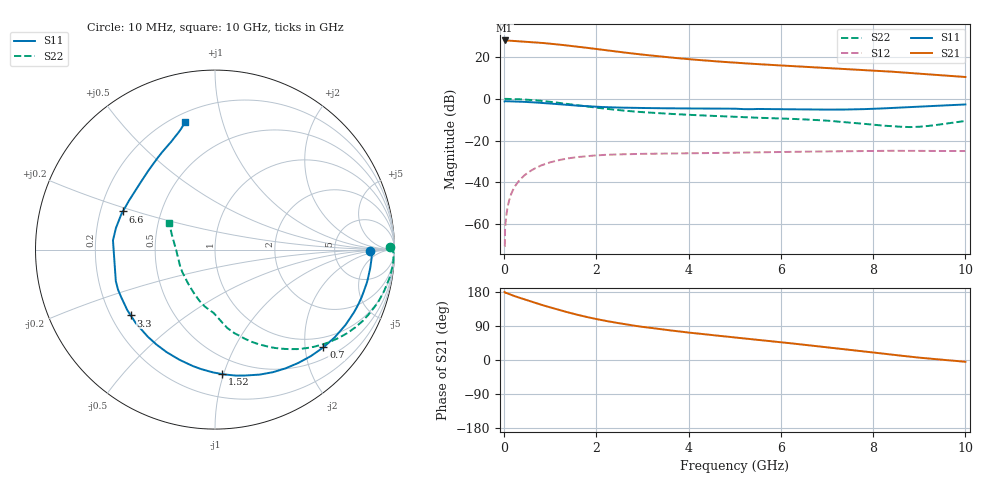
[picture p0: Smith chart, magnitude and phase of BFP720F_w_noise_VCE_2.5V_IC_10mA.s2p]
! Infineon Technologies  Discrete & RF Semiconductors
! BFP720F
! VCE =  2.5 V,  IC =  10 mA
! Common Emitter S-Parameters:  Jan 2016
# GHz  S  MA  R  50
!  f  S11  S21  S12  S22
! GHz  MAG  ANG  MAG  ANG  MAG  ANG  MAG  ANG
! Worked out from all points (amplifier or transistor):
!   233 points, 10 MHz to 10 GHz, reference 50 ohm
!   highest |S21| = 27.9 dB at 10 MHz (marker M1)
!   |S21| within 3 dB of that: start of sweep to 1.613 GHz
!   unconditionally stable (mu >= 1): start of sweep to 11.02 MHz; 6.766 GHz to end of sweep
!   at 200 MHz: K = 0.06, MSG = 35.4 dB, |S12| = -43.2 dB
!   at 1.74 GHz: K = 0.30, MSG = 26.0 dB, |S12| = -27.5 dB
!   at 10 GHz: K = 1.27, MAG = 14.6 dB, |S12| = -25.0 dB
!   lowest NFmin = 0.55 dB at 450 MHz
!   S11 on the Smith chart (normalised r, x): 10 MHz: 14, -1; 700 MHz: 0.75, -2.40; 1.52 GHz: 0.37, -0.99; 3.3 GHz: 0.28, -0.32; 6.6 GHz: 0.30, +0.18; 10 GHz: 0.25, +0.76
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0.01  0.8647 -0.4  24.77 179.3  0.0003 -66.1  0.9767 0.8
0.02  0.875 -1.0  24.53 177.2  0.0008 94.0  0.9968 -1.2
0.055  0.8734 -3.5  24.7 176.7  0.0019 87.5  0.9953 -2.0
0.24  0.8625 -14.6  23.96 168.0  0.0083 81.6  0.9853 -9.0
0.46  0.8427 -27.8  23.04 159.1  0.0154 74.3  0.9567 -17.3
0.7  0.8134 -42.0  22.06 149.9  0.0226 66.3  0.9144 -25.7
0.84  0.7916 -50.3  21.55 144.5  0.0264 61.9  0.8837 -30.4
1.02  0.7662 -60.4  20.62 138.0  0.0307 56.6  0.8411 -36.2
1.3  0.7244 -75.6  19.15 128.4  0.0362 49.0  0.7717 -44.6
1.52  0.6944 -86.8  17.98 121.5  0.0396 43.7  0.7177 -50.6
1.68  0.675 -94.5  17.16 116.6  0.0415 40.2  0.6801 -54.5
2.02  0.6429 -108.7  15.38 107.5  0.0445 34.0  0.6099 -62.0
2.4  0.6213 -121.7  13.6 98.9  0.0466 28.2  0.5472 -69.0
2.8  0.6057 -132.4  12.02 90.9  0.0477 23.9  0.4969 -74.4
3.3  0.5957 -142.0  10.49 82.9  0.0488 20.0  0.4564 -79.3
3.4  0.5945 -143.7  10.21 81.3  0.0489 19.3  0.4491 -80.2
4  0.5868 -152.1  8.843 72.3  0.0498 16.1  0.4132 -83.9
5.1  0.5709 -166.8  7.176 58.2  0.0516 12.2  0.3672 -89.2
6.6  0.5555 157.5  5.767 38.9  0.0546 7.7  0.3177 -101.2
6.8  0.5524 153.9  5.607 36.2  0.0549 7.0  0.3085 -103.7
8.4  0.6029 122.0  4.445 14.2  0.0571 1.2  0.221 -145.5
10  0.7313 103.0  3.314 -4.7  0.0563 -2.5  0.2953 149.9
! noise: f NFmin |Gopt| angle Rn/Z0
0.45  0.55  0.3  3  0.33
0.9  0.58  0.27  8  0.12
1.8  0.62  0.25  13  0.15
2.4  0.65  0.22  23  0.14
5.5  0.8  0.2  43  0.09
10  1  0.28  -91  0.17
